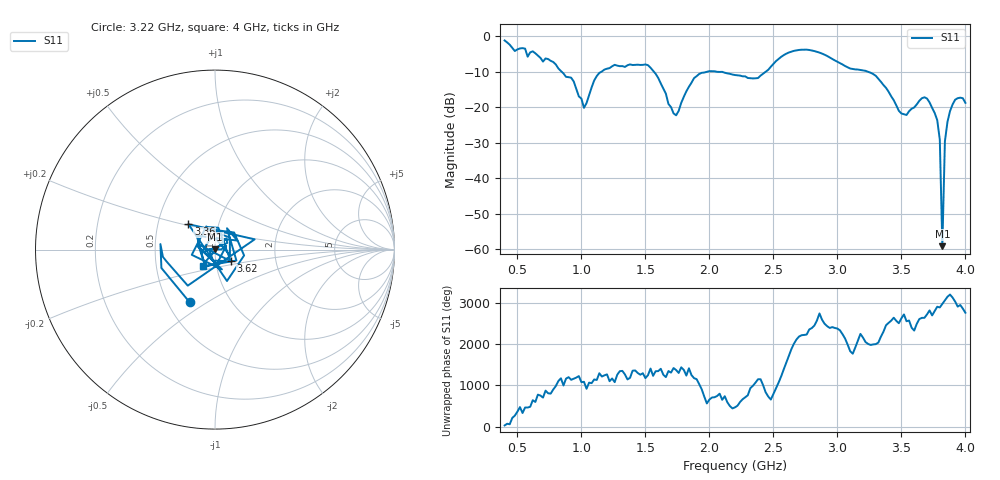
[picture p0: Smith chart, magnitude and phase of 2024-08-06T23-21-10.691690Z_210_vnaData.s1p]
!Created with skrf (http://scikit-rf.org).
# Hz S RI R 50.0
!freq ReS11 ImS11
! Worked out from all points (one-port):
!   181 points, 400 MHz to 4 GHz, reference 50 ohm
!   lowest |S11| = -59.1 dB at 3.82 GHz (marker M1), VSWR 1.00, Z = 50 + j0.111 ohm
!   |S11| at or under -10 dB: 1.566 GHz to 1.984 GHz (418.2 MHz wide, 23.6 % of centre); 2.056 GHz to 2.441 GHz (385.3 MHz wide, 17.1 % of centre); 3.239 GHz to end of sweep (the widest 3 of 4)
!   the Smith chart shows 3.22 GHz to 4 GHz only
!   S11 on the Smith chart (normalised r, x): 3.22 GHz: 0.64, -0.42; 3.36 GHz: 0.72, +0.21; 3.62 GHz: 1.18, -0.16; 4 GHz: 0.86, -0.16
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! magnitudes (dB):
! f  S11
! 400 MHz  -1.2
! 860 MHz  -10.5
! 940 MHz  -12.7
! 1.02 GHz  -20.2
! 1.14 GHz  -10.3
! 1.3 GHz  -8.4
! 1.52 GHz  -8.2
! 1.6 GHz  -11.7
! 1.72 GHz  -21.7
! 1.76 GHz  -21.0
! 1.92 GHz  -10.6
! 2.2 GHz  -10.9
! 2.38 GHz  -11.8
! 2.66 GHz  -4.1
! 3.1 GHz  -9.1
! 3.22 GHz  -9.8
! 3.36 GHz  -13.8
! 3.5 GHz  -21.8
! 3.56 GHz  -21.1
! 3.62 GHz  -19.2
! 3.7 GHz  -17.5
! 3.78 GHz  -23.6
! 3.8 GHz  -29.1
! 3.82 GHz  -59.1
! 3.84 GHz  -29.6
! 3.86 GHz  -24.1
! 3.92 GHz  -17.9
! 4 GHz  -18.8
